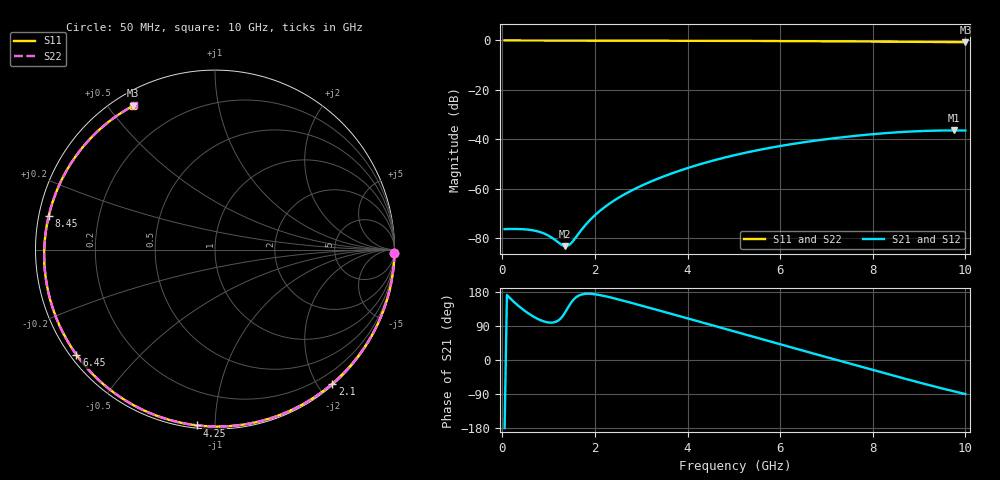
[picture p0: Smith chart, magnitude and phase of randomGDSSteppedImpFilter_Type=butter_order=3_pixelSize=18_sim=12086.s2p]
! freq	dB(S11)	phase(S11)	dB(S12)	phase(S12)
!  dB(S21)	phase(S21)	dB(S22)	phase(S22)
!S-par simulation data
#  GHz  S  DB  R 50
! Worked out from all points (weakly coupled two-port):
!   200 points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, 50 MHz to 10 GHz, reference 50 ohm
!   highest |S21| = -36.36 dB at 9.75 GHz (marker M1); lowest = -83.1 dB at 1.35 GHz (marker M2)
!   lowest |S11| = -0.7 dB at 10 GHz (marker M3), VSWR 24.54, Z = 2.73 + j29 ohm
!   |S11| at or under -10 dB: nowhere
!   |S22| runs from -0.7 to 0.0 dB; largest |S21 - S12| = 0
!   S11 on the Smith chart (normalised r, x): 50 MHz: 0, -97; 2.1 GHz: 0.02, -2.21; 4.25 GHz: 0.01, -0.90; 6.45 GHz: 0.02, -0.34; 8.45 GHz: 0.03, +0.10; 10 GHz: 0.05, +0.58
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0.05  -0.00 -1.2  -76.24 -179.6  -76.24 -179.6  -0.00 -1.2
0.65  -0.01 -15.4  -76.67 116.2  -76.67 116.2  -0.01 -15.4
0.9  -0.02 -21.2  -77.99 101.8  -77.99 101.8  -0.02 -21.2
1.1  -0.03 -25.9  -80.06 99.0  -80.06 99.0  -0.03 -25.9
1.35  -0.04 -31.7  -83.12 124.1  -83.12 124.1  -0.04 -31.7
1.55  -0.05 -36.3  -80.51 160.9  -80.51 160.9  -0.05 -36.3
1.6  -0.05 -37.4  -79.26 166.2  -79.26 166.2  -0.05 -37.4
1.75  -0.05 -40.8  -75.57 173.9  -75.57 173.9  -0.05 -40.8
2.1  -0.06 -48.8  -68.97 171.4  -68.97 171.4  -0.06 -48.8
2.65  -0.08 -61.1  -62.05 155.3  -62.05 155.3  -0.08 -61.1
3.4  -0.10 -77.5  -55.54 130.2  -55.54 130.2  -0.10 -77.5
4.25  -0.14 -95.8  -50.12 101.4  -50.12 101.4  -0.14 -95.8
5.05  -0.18 -112.7  -46.20 74.0  -46.20 74.0  -0.18 -112.7
5.75  -0.22 -127.6  -43.48 50.0  -43.48 50.0  -0.22 -127.6
6.45  -0.27 -142.8  -41.30 26.2  -41.30 26.2  -0.27 -142.9
6.7  -0.29 -148.4  -40.63 17.7  -40.63 17.7  -0.29 -148.4
7.55  -0.38 -168.2  -38.69 -11.0  -38.69 -11.0  -0.38 -168.3
8.35  -0.47 171.3  -37.34 -37.9  -37.34 -37.9  -0.48 171.2
8.45  -0.49 168.6  -37.20 -41.2  -37.20 -41.2  -0.49 168.5
9.1  -0.58 149.7  -36.57 -62.6  -36.57 -62.6  -0.58 149.6
9.75  -0.67 128.5  -36.36 -82.6  -36.36 -82.6  -0.67 128.3
10  -0.71 119.6  -36.38 -89.8  -36.38 -89.8  -0.71 119.4
